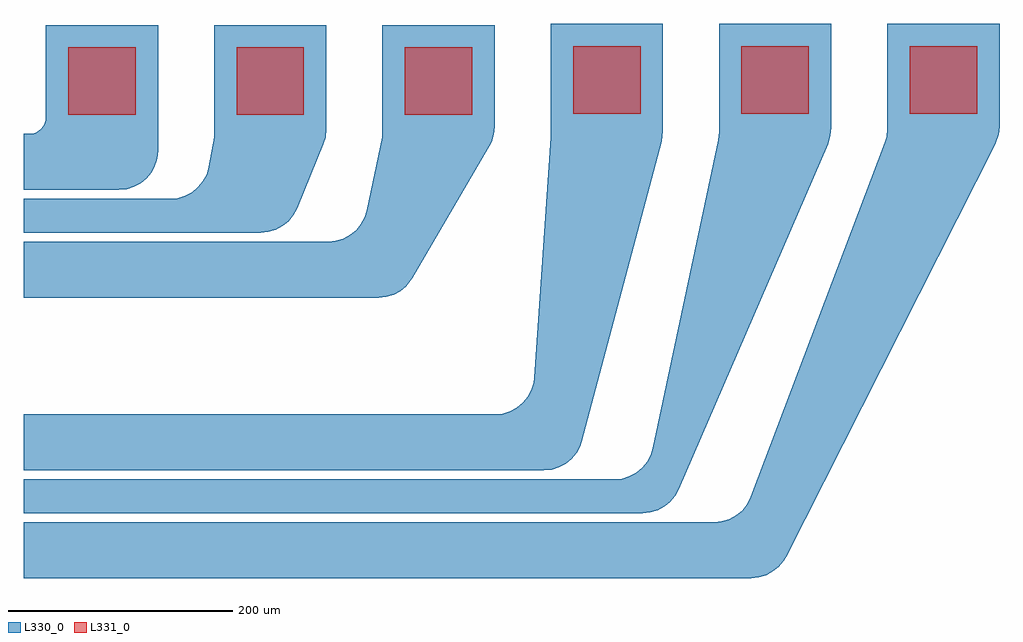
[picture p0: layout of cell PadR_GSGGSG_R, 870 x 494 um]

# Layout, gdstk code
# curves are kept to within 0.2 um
import gdstk
lib = gdstk.Library(unit=1e-6, precision=1e-09)
def R(c, l, rs):  # rectangles x0, y0, x1, y1
    for r in rs: c.add(gdstk.rectangle(r[:2], r[2:], *l))
def A(c, l, x, y, w, h, nx, ny, dx, dy):  # array of equal rectangles
    R(c, l, [(x+i*dx, y+j*dy, x+i*dx+w, y+j*dy+h) for i in range(nx) for j in range(ny)])
def P(c, l, *ps):  # polygons
    for p in ps: c.add(gdstk.Polygon(p, *l))
L330_0 = (330, 0)
L331_0 = (331, 0)

padr_gsggsg_r = lib.new_cell('PadR_GSGGSG_R')
P(padr_gsggsg_r, L330_0, [(-50,-347),(-50,-297),(370.439,-297),(377.267,-296.327),(383.833,-294.336),(389.884,-291.101),(395.188,-286.749),(399.541,-281.445),(402.775,-275.394),(404.767,-268.828),(405.36,-264.373),(419.919,-50.185),(420,51),(520,51),(520,-44.431),(518.827,-53.416),(447.765,-320.985),(446.274,-325.394),(443.039,-331.445),(438.687,-336.749),(433.383,-341.102),(427.332,-344.336),(420.766,-346.328),(413.939,-347)],
  [(-50,-385),(-50,-355),(476.686,-355),(483.514,-354.327),(490.08,-352.336),(496.131,-349.101),(501.435,-344.749),(505.788,-339.445),(509.022,-333.394),(510.923,-327.268),(569.237,-52.594),(570,-45.326),(570,51),(670,51),(670,-41.769),(669.327,-48.597),(667.134,-55.639),(534.085,-363.871),(531.052,-369.445),(526.699,-374.749),(521.395,-379.101),(515.344,-382.336),(508.779,-384.327),(501.95,-385)],
  [(-50,-443),(-50,-393),(565.75,-393),(572.579,-392.327),(579.144,-390.336),(585.195,-387.101),(590.499,-382.749),(594.852,-377.445),(598.488,-370.378),(717.738,-54.982),(719.327,-49.432),(720,-42.604),(720,51),(820,51),(820,-40.628),(819.327,-47.456),(816.211,-56.466),(629.789,-423.838),(627.679,-427.445),(623.326,-432.749),(618.022,-437.102),(611.971,-440.336),(605.405,-442.328),(598.577,-443)],
  [(-50,-135),(-50,-105),(80.79,-105),(87.62,-104.325),(94.185,-102.335),(100.235,-99.1),(105.54,-94.75),(109.89,-89.445),(113.125,-83.395),(115.225,-76.26),(120,-50),(120,50),(220,50),(220,-43.075),(219.325,-49.905),(217.365,-56.4),(193.925,-113.325),(190.66,-119.445),(186.31,-124.75),(181.005,-129.1),(174.955,-132.335),(168.39,-134.325),(161.56,-135)],
  [(-50,-97),(-50,-47),(-42.075,-46.71),(-39.26,-45.86),(-36.665,-44.47),(-34.395,-42.605),(-32.53,-40.335),(-31.14,-37.74),(-30.29,-34.925),(-30,-32),(-30,50),(70,50),(70,-62),(69.325,-68.83),(67.18,-75.33),(64.1,-81.445),(59.75,-86.75),(54.445,-91.1),(48.395,-94.335),(41.83,-96.325),(35,-97)],
  [(-50,-193),(-50,-143),(221.725,-143),(228.555,-142.325),(235.12,-140.335),(241.17,-137.1),(246.475,-132.75),(250.83,-127.445),(254.06,-121.395),(255.945,-115.36),(270,-50),(270,50),(370,50),(370,-40.535),(369.325,-47.365),(367.335,-53.93),(365.23,-58.175),(296.685,-175.64),(291.205,-182.75),(285.9,-187.1),(279.85,-190.335),(273.285,-192.33),(266.455,-193)])
A(padr_gsggsg_r, L331_0, 440, -29, 60, 60, 3, 1, 150, 0)
R(padr_gsggsg_r, L331_0, [(-10,-30,50,30), (-10,-30,50,30), (140,-30,200,30), (140,-30,200,30), (290,-30,350,30), (290,-30,350,30)])

lib.write_gds('PadR_GSGGSG_R.gds')
